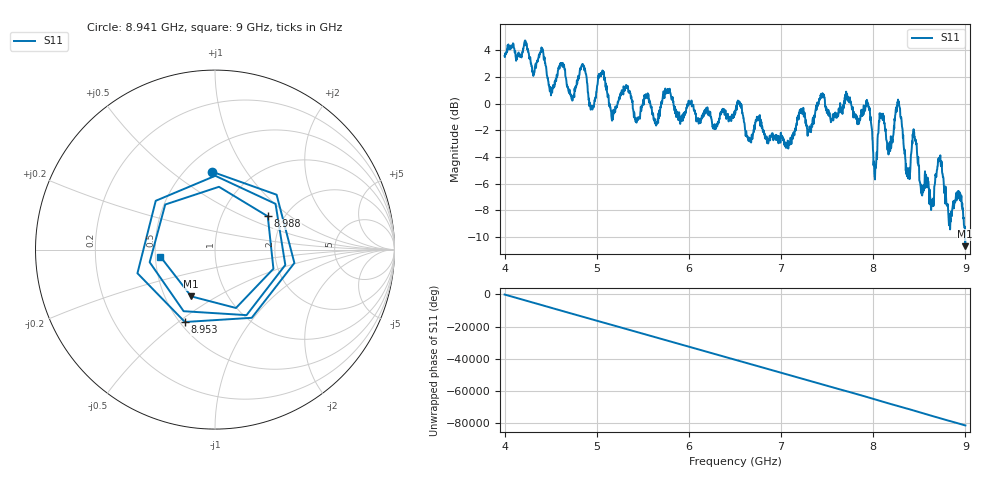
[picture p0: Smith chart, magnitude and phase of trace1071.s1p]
! Created with skrf 1.8.0 (http://scikit-rf.org).
# Hz S RI R 50.0
!freq ReS11 ImS11
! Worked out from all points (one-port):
!   1601 points, 4 GHz to 9 GHz, reference 50 ohm
!   lowest |S11| = -10.7 dB at 8.997 GHz (marker M1), VSWR 1.83, Z = 33.9 - j19.3 ohm
!   |S11| at or under -10 dB: 8.995593 GHz to end of sweep
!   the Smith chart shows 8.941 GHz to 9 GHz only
!   S11 on the Smith chart (normalised r, x): 8.941 GHz: 0.66, +0.71; 8.953 GHz: 0.53, -0.53; 8.988 GHz: 1.65, +0.70; 9 GHz: 0.53, -0.05
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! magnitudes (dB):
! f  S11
! 4 GHz  3.6
! 4.397 GHz  3.9
! 4.509 GHz  1.0
! 4.625 GHz  3.0
! 4.731 GHz  0.4
! 4.844 GHz  2.9
! 4.944 GHz  -0.2
! 5.053 GHz  2.3
! 5.25 GHz  0.3
! 5.875 GHz  -0.6
! 6.5 GHz  -0.6
! 7.125 GHz  -2.4
! 7.75 GHz  0.2
! 7.941 GHz  -0.1
! 8.019 GHz  -5.7
! 8.084 GHz  -1.1
! 8.178 GHz  -2.9
! 8.269 GHz  0.3
! 8.375 GHz  -5.4
! 8.447 GHz  -2.5
! 8.634 GHz  -7.7
! 8.719 GHz  -4.1
! 8.828 GHz  -8.4
! 8.941 GHz  -7.2
! 8.953 GHz  -7.2
! 8.988 GHz  -9.2
! 8.997 GHz  -10.7
! 9 GHz  -10.3
